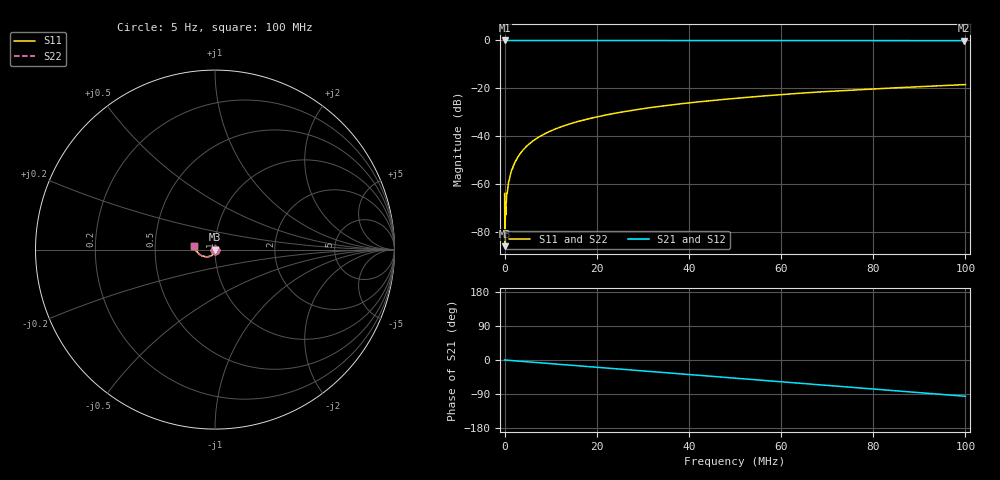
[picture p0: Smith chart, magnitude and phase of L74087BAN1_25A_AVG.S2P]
!Agilent Technologies,E5061B,MY49102235,A.02.00
!Date: Mon Jul 10 15:56:58 2023
!Data & Calibration Information:
!Freq	S11:SOLT2(ON)	S21:SOLT2(ON)	S12:SOLT2(ON)	S22:SOLT2(ON)
# Hz S RI R 50
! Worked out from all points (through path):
!   1600 points, 5 Hz to 100 MHz, reference 50 ohm
!   highest |S21| = 0.02 dB at 5 Hz (marker M1); lowest = -0.1 dB at 99.62 MHz (marker M2)
!   group delay of S21, straight-line fit = 2.66 ns
!   lowest |S11| = -86.1 dB at 62.54 kHz (marker M3), VSWR 1.00, Z = 50 - j0.00217 ohm
!   |S11| at or under -10 dB: start of sweep to end of sweep
!   |S22| runs from -78.2 to -18.4 dB; largest |S21 - S12| = 0.0026
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5  -0.000435 0.000448  1.002 0.00229  1.001 -1.5e-05  -0.000114 -7e-05
62544.08  -4.43e-05 -2.17e-05  1 -0.000865  1 -0.000732  3.35e-06 -0.000123
250161.3  5.8e-05 -0.000214  0.9997 -0.00439  0.9998 -0.00421  4.21e-05 -0.000235
562856.8  0.000135 -0.000621  0.9997 -0.00952  0.9997 -0.00903  6.38e-05 -0.000671
687934.9  -5.32e-06 -0.000831  1 -0.0115  1 -0.0115  1.18e-06 -0.000786
813013.1  -9.92e-05 -0.000993  1 -0.0138  0.9991 -0.013  -0.000104 -0.00103
1063169  -8.75e-05 -0.00128  1 -0.0178  1 -0.0178  -5.97e-05 -0.00134
1250787  -0.000102 -0.00154  0.9997 -0.0212  0.999 -0.0204  -7.59e-05 -0.00152
1688560  -4.93e-05 -0.0021  1 -0.0286  0.9996 -0.0278  -6.67e-05 -0.00209
2251412  -4.3e-05 -0.00282  0.9995 -0.0384  0.9992 -0.0373  -5.99e-05 -0.00283
3689811  -0.00027 -0.00469  0.9981 -0.0618  0.9979 -0.0615  -0.000334 -0.0047
5878679  -0.000672 -0.00748  0.995 -0.0982  0.995 -0.098  -0.00073 -0.00738
8692938  -0.00151 -0.011  0.9891 -0.145  0.9892 -0.1445  -0.00164 -0.0108
1.250782e7  -0.00318 -0.0155  0.9778 -0.2077  0.9779 -0.2076  -0.00318 -0.0153
1.669794e7  -0.00572 -0.0203  0.9609 -0.2755  0.961 -0.2754  -0.00564 -0.0202
2.395247e7  -0.0117 -0.0275  0.9202 -0.39  0.9201 -0.3895  -0.0117 -0.0277
3.333334e7  -0.0223 -0.0348  0.8477 -0.5285  0.8478 -0.5283  -0.0222 -0.0352
5.003127e7  -0.0465 -0.04  0.6686 -0.7409  0.6686 -0.741  -0.0469 -0.0404
6.672921e7  -0.0748 -0.0331  0.4382 -0.895  0.4381 -0.8946  -0.0751 -0.0334
8.33646e7  -0.0996 -0.0126  0.1751 -0.9789  0.1749 -0.9787  -0.1001 -0.0131
9.962477e7  -0.1173 0.0196  -0.0927 -0.9881  -0.0929 -0.9878  -0.118 0.0185
1e8  -0.1176 0.0204  -0.0989 -0.9876  -0.0991 -0.9871  -0.1184 0.0193
